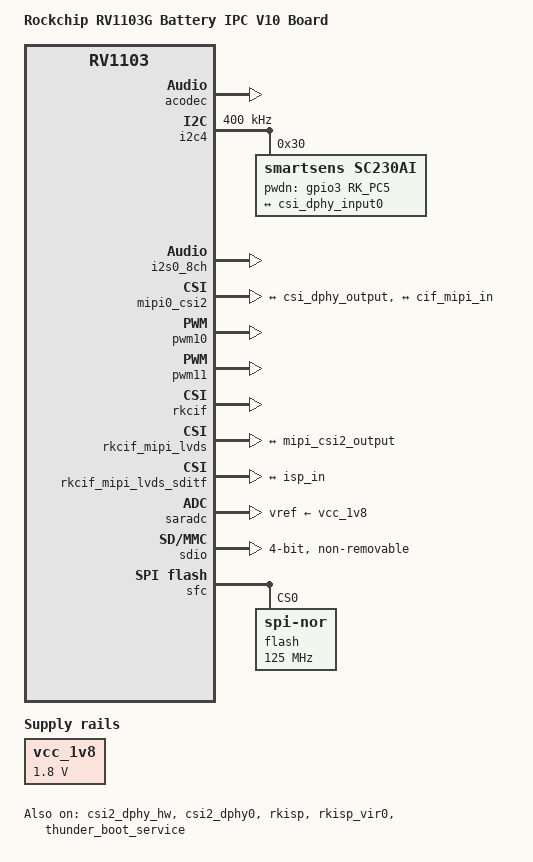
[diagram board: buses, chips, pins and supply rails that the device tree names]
// SPDX-License-Identifier: (GPL-2.0+ OR MIT)
/*
 * Copyright (c) 2022 Rockchip Electronics Co., Ltd.
 */

/dts-v1/;

#include "rv1103.dtsi"
#include "rv1106-evb.dtsi"
#include "rv1106-thunder-boot-spi-nor.dtsi"

/ {
	model = "Rockchip RV1103G Battery IPC V10 Board";
	compatible = "rockchip,rv1103g-battery-ipc-v10", "rockchip,rv1103";

	aliases {
		/delete-property/ csi2dphy1;
		/delete-property/ csi2dphy2;
		/delete-property/ ethernet0;
		/delete-property/ i2c0;
		/delete-property/ i2c1;
		/delete-property/ i2c2;
		/delete-property/ i2c3;
		/delete-property/ mmc0;
		/delete-property/ mmc1;
		/delete-property/ pwm0;
		/delete-property/ pwm1;
		/delete-property/ pwm2;
		/delete-property/ pwm3;
		/delete-property/ pwm4;
		/delete-property/ pwm5;
		/delete-property/ pwm6;
		/delete-property/ pwm7;
		/delete-property/ pwm8;
		/delete-property/ pwm9;
		/delete-property/ rkcif_mipi_lvds1;
		/delete-property/ serial0;
		/delete-property/ serial1;
		/delete-property/ serial3;
		/delete-property/ serial4;
		/delete-property/ serial5;
		/delete-property/ spi0;
		/delete-property/ spi1;
	};

	chosen {
		bootargs = "loglevel=0 rootfstype=erofs rootflags=dax console=ttyFIQ0 root=/dev/rd0 snd_soc_core.prealloc_buffer_size_kbytes=16 coherent_pool=0 driver_async_probe=dwmmc_rockchip storagemedia=mtd androidboot.storagemedia=mtd androidboot.mode=normal";
	};

	acodec_sound: acodec-sound {
		compatible = "simple-audio-card";
		simple-audio-card,name = "rv1103-acodec";
		simple-audio-card,format = "i2s";
		simple-audio-card,mclk-fs = <256>;
		simple-audio-card,cpu {
			sound-dai = <&i2s0_8ch>;
		};
		simple-audio-card,codec {
			sound-dai = <&acodec>;
		};
	};

	vcc_1v8: vcc-1v8 {
		compatible = "regulator-fixed";
		regulator-name = "vcc_1v8";
		regulator-always-on;
		regulator-boot-on;
		regulator-min-microvolt = <1800000>;
		regulator-max-microvolt = <1800000>;
	};
};

/delete-node/ &dsm;
/delete-node/ &i2c0;
/delete-node/ &i2c1;
/delete-node/ &i2c2;
/delete-node/ &i2c3;
/delete-node/ &emmc;
/delete-node/ &gmac;
/delete-node/ &pwm0;
/delete-node/ &pwm1;
/delete-node/ &pwm2;
/delete-node/ &pwm3;
/delete-node/ &pwm4;
/delete-node/ &pwm5;
/delete-node/ &pwm6;
/delete-node/ &pwm7;
/delete-node/ &pwm8;
/delete-node/ &pwm9;
/delete-node/ &rkcif_dvp;
/delete-node/ &rkcif_dvp_sditf;
/delete-node/ &rkcif_mipi_lvds1;
/delete-node/ &rkcif_mipi_lvds1_sditf;
/delete-node/ &sdmmc;
/delete-node/ &spi0;
/delete-node/ &spi1;
/delete-node/ &uart0;
/delete-node/ &uart1;
/delete-node/ &uart3;
/delete-node/ &uart4;
/delete-node/ &uart5;

&acodec {
	#sound-dai-cells = <0>;
	pa-ctl-gpios = <&gpio0 RK_PA4 GPIO_ACTIVE_HIGH>;
	status = "okay";
};

&cpu0 {
	/delete-property/ clocks;
	/delete-property/ operating-points-v2;
};

&csi2_dphy_hw {
	status = "okay";
};

&csi2_dphy0 {
	status = "okay";

	ports {
		#address-cells = <1>;
		#size-cells = <0>;

		port@0 {
			reg = <0>;
			#address-cells = <1>;
			#size-cells = <0>;

			csi_dphy_input0: endpoint@0 {
				reg = <0>;
				remote-endpoint = <&sc230ai_out>;
				data-lanes = <1 2>;
			};
		};

		port@1 {
			reg = <1>;
			#address-cells = <1>;
			#size-cells = <0>;

			csi_dphy_output: endpoint@0 {
				reg = <0>;
				remote-endpoint = <&mipi_csi2_input>;
			};
		};
	};
};

&fiq_debugger {
	rockchip,baudrate = <1500000>;
	pinctrl-names = "default";
	pinctrl-0 = <&uart2m1_xfer>;
};

&i2c4 {
	rockchip,amp-shared;
	clock-frequency = <400000>;
	pinctrl-names = "default";
	pinctrl-0 = <&i2c4m2_xfer>;
	status = "okay";

	sc230ai: sc230ai@30 {
		compatible = "smartsens,sc230ai";
		status = "okay";
		reg = <0x30>;
		clocks = <&cru MCLK_REF_MIPI0>;
		clock-names = "xvclk";
		pwdn-gpios = <&gpio3 RK_PC5 GPIO_ACTIVE_HIGH>;
		pinctrl-names = "default";
		pinctrl-0 = <&mipi_refclk_out0>;
		rockchip,camera-module-index = <0>;
		rockchip,camera-module-facing = "back";
		rockchip,camera-module-name = "CMK-OT2115-PC1";
		rockchip,camera-module-lens-name = "30IRC-F16";
		port {
			sc230ai_out: endpoint {
				remote-endpoint = <&csi_dphy_input0>;
				data-lanes = <1 2>;
			};
		};
	};
};

&i2s0_8ch {
	#sound-dai-cells = <0>;
	status = "okay";
};

&mailbox {
	status = "okay";
};

&memory {
	reg = <0x00000000 0x04000000>;
};

&mipi0_csi2 {
	status = "okay";

	ports {
		#address-cells = <1>;
		#size-cells = <0>;

		port@0 {
			reg = <0>;
			#address-cells = <1>;
			#size-cells = <0>;

			mipi_csi2_input: endpoint@1 {
				reg = <1>;
				remote-endpoint = <&csi_dphy_output>;
			};
		};

		port@1 {
			reg = <1>;
			#address-cells = <1>;
			#size-cells = <0>;

			mipi_csi2_output: endpoint@0 {
				reg = <0>;
				remote-endpoint = <&cif_mipi_in>;
			};
		};
	};
};

&pwm10 {
	status = "okay";
};

&pwm11 {
	status = "okay";
};

&rkcif {
	status = "okay";
};

&rkcif_mipi_lvds {
	status = "okay";

	memory-region-thunderboot = <&rkisp_thunderboot>;
	pinctrl-names = "default";
	pinctrl-0 = <&mipi_pins>;
	port {
		/* MIPI CSI-2 endpoint */
		cif_mipi_in: endpoint {
			remote-endpoint = <&mipi_csi2_output>;
		};
	};
};

&rkcif_mipi_lvds_sditf {
	status = "okay";

	port {
		/* MIPI CSI-2 endpoint */
		mipi_lvds_sditf: endpoint {
			remote-endpoint = <&isp_in>;
		};
	};
};

&rkisp {
	status = "okay";
};

&rkisp_vir0 {
	status = "okay";

	port@0 {
		isp_in: endpoint {
			remote-endpoint = <&mipi_lvds_sditf>;
		};
	};
};

&saradc {
	status = "okay";
	vref-supply = <&vcc_1v8>;
};

&sdio {
	max-frequency = <30000000>;
	no-sd;
	no-mmc;
	bus-width = <4>;
	cap-sd-highspeed;
	cap-sdio-irq;
	keep-power-in-suspend;
	non-removable;
	pinctrl-names = "normal", "idle";
	pinctrl-0 = <&sdmmc1m1_cmd &sdmmc1m1_clk &sdmmc1m1_bus4>;
	pinctrl-1 = <&sdmmc1m1_idle_pins>;
	no-prescan-powerup;
	post-power-on-delay-ms = <0>;
	status = "okay";
};

&sfc {
	assigned-clocks = <&cru SCLK_SFC>;
	assigned-clock-rates = <125000000>;
	status = "okay";

	flash@0 {
		compatible = "jedec,spi-nor";
		reg = <0>;
		spi-max-frequency = <125000000>;
		spi-rx-bus-width = <4>;
		spi-tx-bus-width = <1>;
	};
};

&thunder_boot_service {
	status = "okay";
};
